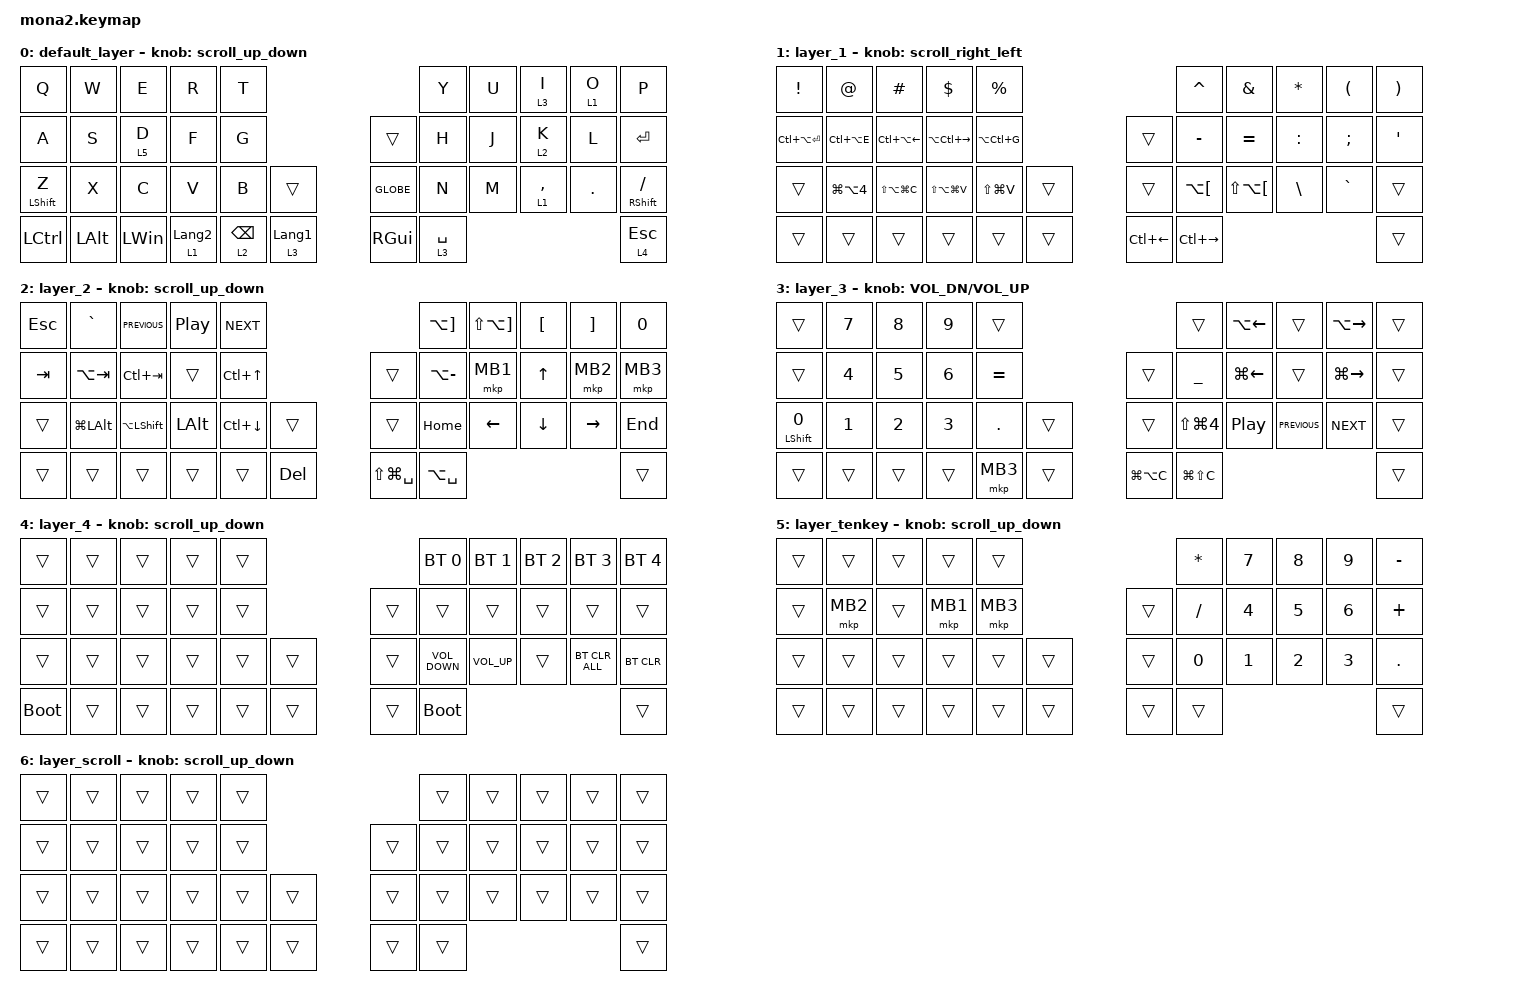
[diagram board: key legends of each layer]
#include <input/processors.dtsi>
#include <dt-bindings/zmk/input_transform.h>
#include <zephyr/dt-bindings/input/input-event-codes.h>
#include <mouse-gesture.dtsi>
#include <behaviors.dtsi>
#include <dt-bindings/zmk/bt.h>
#include <dt-bindings/zmk/keys.h>
#include <dt-bindings/zmk/pointing.h>

#define ZMK_POINTING_DEFAULT_SCRL_VAL 100
#define LAYER_TENKEY 5
#define LAYER_SCROLL 6

&mt {
    flavor = "balanced";
    quick-tap-ms = <0>;
    tapping-term-ms = <180>;
};

&lt {
    quick-tap-ms = <300>;
    flavor = "balanced";
};

&mouse_gesture_kp {
    flavor = "tap-preferred";
    tapping-term-ms = <200>;
    require-prior-idle-ms = <125>;
    quick-tap-ms = <175>;
};

/ {
    combos {
        compatible = "zmk,combos";

        Caps_Lock {
            bindings = <&kp CAPSLOCK>;
            key-positions = <0 1>;
        };

        combo_mouse_gesture {
            timeout-ms = <50>;
            key-positions = <7 8>;
            layers = <0>;
            bindings = <&mouse_gesture>;
            slow-release;
        };
    };

    macros {
        to_layer_0: to_layer_0 {
            compatible = "zmk,behavior-macro-one-param";
            #binding-cells = <1>;
            bindings = <&to 0 &macro_param_1to1 &kp MACRO_PLACEHOLDER>;
            label = "TO_LAYER_0";
        };
    };

    behaviors {
        lt_to_layer_0: lt_to_layer_0 {
            compatible = "zmk,behavior-hold-tap";
            label = "LAYER_TAP_TO_0";
            bindings = <&mo>, <&to_layer_0>;

            #binding-cells = <2>;
            tapping-term-ms = <200>;
        };

        scroll_up_down: mouse_wheel_up_down {
            compatible = "zmk,behavior-sensor-rotate";
            #sensor-binding-cells = <0>;
            bindings = <&msc SCRL_DOWN>, <&msc SCRL_UP>;

            tap-ms = <20>;
        };

        scroll_right_left: mouse_wheel_right_left {
            compatible = "zmk,behavior-sensor-rotate";
            #sensor-binding-cells = <0>;
            bindings = <&msc SCRL_LEFT>, <&msc SCRL_RIGHT>;

            tap-ms = <20>;
        };
    };

    keymap {
        compatible = "zmk,keymap";

        default_layer {
            bindings = <
&kp Q             &kp W         &kp E         &kp R                        &kp T                                             &kp Y  &kp U          &lt 3 I      &lt 1 O  &kp P
&kp A             &kp S         &lt 5 D       &kp F                        &kp G                              &trans         &kp H  &kp J          &lt 2 K      &kp L    &kp ENTER
&mt LEFT_SHIFT Z  &kp X         &kp C         &kp V                        &kp B            &trans            &kp GLOBE      &kp N  &kp M          &lt 1 COMMA  &kp DOT  &mt RIGHT_SHIFT SLASH
&kp LEFT_CONTROL  &kp LEFT_ALT  &kp LEFT_WIN  &lt_to_layer_0 1 LANGUAGE_2  &lt 2 BACKSPACE  &lt 3 LANGUAGE_1  &kp RIGHT_GUI  &lt 3 SPACE                                 &lt 4 ESC
            >;

            sensor-bindings = <&scroll_up_down>;
        };

        layer_1 {
            bindings = <
&kp EXCL           &kp AT                &kp HASH           &kp DOLLAR         &kp PERCENT                          &kp CARET             &kp AMPERSAND             &kp ASTERISK   &kp LEFT_PARENTHESIS  &kp RIGHT_PARENTHESIS
&kp LC(LA(ENTER))  &kp LC(LA(E))         &kp LC(LA(LEFT))   &kp LA(LC(RIGHT))  &kp LA(LC(G))          &trans        &kp MINUS             &kp EQUAL                 &kp COLON      &kp SEMI              &kp SINGLE_QUOTE
&trans             &kp LG(LA(NUMBER_4))  &kp LS(LA(LG(C)))  &kp LS(LA(LG(V)))  &kp LS(LG(V))  &trans  &trans        &kp LA(LEFT_BRACKET)  &kp LS(LA(LEFT_BRACKET))  &kp BACKSLASH  &kp GRAVE             &trans
&trans             &trans                &trans             &trans             &trans         &trans  &kp LC(LEFT)  &kp LC(RIGHT)                                                                        &trans
            >;

            sensor-bindings = <&scroll_right_left>;
        };

        layer_2 {
            bindings = <
&kp ESCAPE  &kp GRAVE         &kp C_PREVIOUS      &kp C_PLAY_PAUSE  &kp C_NEXT                                       &kp LA(RIGHT_BRACKET)  &kp LS(LA(RIGHT_BRACKET))  &kp LEFT_BRACKET  &kp RIGHT_BRACKET  &kp N0
&kp TAB     &kp LA(TAB)       &kp LC(TAB)         &trans            &kp LC(UP_ARROW)              &trans             &kp LA(MINUS)          &mkp MB1                   &kp UP            &mkp MB2           &mkp MB3
&trans      &kp LG(LEFT_ALT)  &kp LA(LEFT_SHIFT)  &kp LEFT_ALT      &kp LC(DOWN)      &trans      &trans             &kp HOME               &kp LEFT                   &kp DOWN          &kp RIGHT          &kp END
&trans      &trans            &trans              &trans            &trans            &kp DELETE  &kp LS(LG(SPACE))  &kp LA(SPACE)                                                                          &trans
            >;

            sensor-bindings = <&scroll_up_down>;
        };

        layer_3 {
            bindings = <
&trans                   &kp NUMBER_7  &kp NUMBER_8  &kp NUMBER_9  &trans                             &trans          &kp LA(LEFT)        &trans          &kp LA(RIGHT)        &trans
&trans                   &kp NUMBER_4  &kp NUMBER_5  &kp NUMBER_6  &kp EQUAL           &trans         &kp UNDERSCORE  &kp LG(LEFT_ARROW)  &trans          &kp LG(RIGHT_ARROW)  &trans
&mt LEFT_SHIFT NUMBER_0  &kp NUMBER_1  &kp NUMBER_2  &kp NUMBER_3  &kp PERIOD  &trans  &trans         &kp LS(LG(N4))  &kp C_PP            &kp C_PREVIOUS  &kp C_NEXT           &trans
&trans                   &trans        &trans        &trans        &mkp MB3    &trans  &kp LG(LA(C))  &kp LG(LS(C))                                                            &trans
            >;

            sensor-bindings = <&inc_dec_kp C_VOL_DN C_VOL_UP>;
        };

        layer_4 {
            bindings = <
&trans       &trans  &trans  &trans  &trans                  &bt BT_SEL 0       &bt BT_SEL 1     &bt BT_SEL 2  &bt BT_SEL 3    &bt BT_SEL 4
&trans       &trans  &trans  &trans  &trans          &trans  &trans             &trans           &trans        &trans          &trans
&trans       &trans  &trans  &trans  &trans  &trans  &trans  &kp C_VOLUME_DOWN  &kp C_VOLUME_UP  &trans        &bt BT_CLR_ALL  &bt BT_CLR
&bootloader  &trans  &trans  &trans  &trans  &trans  &trans  &bootloader                                                       &trans
            >;

            sensor-bindings = <&scroll_up_down>;
        };

        layer_tenkey {
            bindings = <
&trans  &trans    &trans  &trans    &trans                    &kp ASTERISK  &kp NUMBER_7  &kp NUMBER_8  &kp NUMBER_9  &kp MINUS
&trans  &mkp MB2  &trans  &mkp MB1  &mkp MB3          &trans  &kp SLASH     &kp NUMBER_4  &kp NUMBER_5  &kp NUMBER_6  &kp PLUS
&trans  &trans    &trans  &trans    &trans    &trans  &trans  &kp NUMBER_0  &kp NUMBER_1  &kp NUMBER_2  &kp NUMBER_3  &kp PERIOD
&trans  &trans    &trans  &trans    &trans    &trans  &trans  &trans                                                  &trans
            >;

            sensor-bindings = <&scroll_up_down>;
        };

        layer_scroll {
            bindings = <
&trans  &trans  &trans  &trans  &trans                  &trans  &trans  &trans  &trans  &trans
&trans  &trans  &trans  &trans  &trans          &trans  &trans  &trans  &trans  &trans  &trans
&trans  &trans  &trans  &trans  &trans  &trans  &trans  &trans  &trans  &trans  &trans  &trans
&trans  &trans  &trans  &trans  &trans  &trans  &trans  &trans                          &trans
            >;

            sensor-bindings = <&scroll_up_down>;
        };
    };
};

&zip_mouse_gesture {
    stroke-size = <200>;
    enable-eager-mode;

    mission_control {
        pattern = <GESTURE_UP>;
        bindings = <&kp LC(UP)>;      // Mission Control
    };

    app_expose {
        pattern = <GESTURE_DOWN>;
        bindings = <&kp LC(DOWN)>;    // App Exposé
    };

    desktop_left {
        pattern = <GESTURE_LEFT>;
        bindings = <&kp LC(LEFT)>;    // 左のデスクトップへ
    };

    desktop_right {
        pattern = <GESTURE_RIGHT>;
        bindings = <&kp LC(RIGHT)>;   // 右のデスクトップへ
    };

    show_desktop {
        pattern = <GESTURE_DOWN GESTURE_UP>;
        bindings = <&kp LG(F3)>;      // デスクトップ表示系。Mac設定次第で要調整
    };
};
